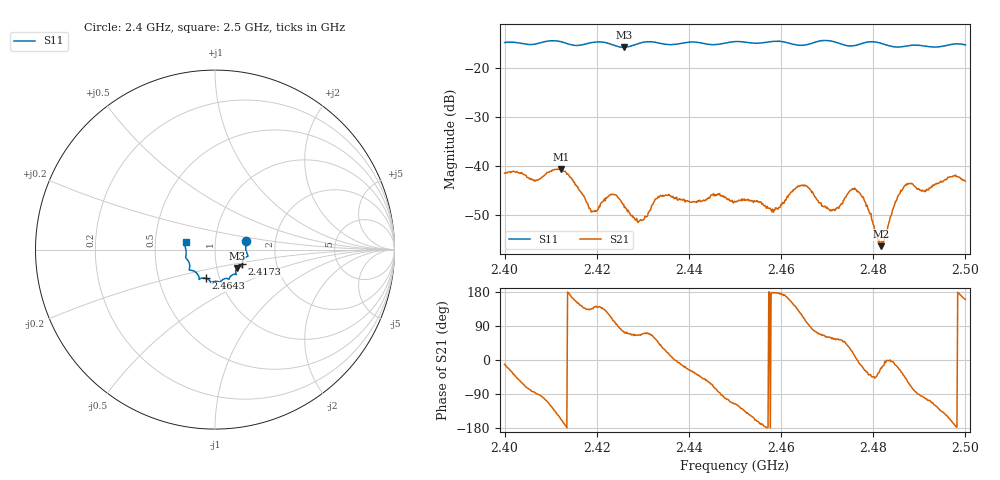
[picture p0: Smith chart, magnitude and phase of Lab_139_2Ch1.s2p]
# Hz S RI R 50
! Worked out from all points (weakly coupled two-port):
!   601 points, 2.4 GHz to 2.5 GHz, reference 50 ohm
!   highest |S21| = -40.61 dB at 2.4122 GHz (marker M1); lowest = -56.3 dB at 2.4817 GHz (marker M2)
!   lowest |S11| = -15.9 dB at 2.4258 GHz (marker M3), VSWR 1.38, Z = 62.3 - j13.3 ohm
!   |S11| at or under -10 dB: start of sweep to end of sweep
!   S12 and S22 are empty: the file has one direction only
!   S11 on the Smith chart (normalised r, x): 2.4 GHz: 1.41, +0.14; 2.4173 GHz: 1.34, -0.22; 2.4643 GHz: 0.86, -0.28; 2.5 GHz: 0.72, +0.06
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2.4e9  0.1726 0.0491  0.00826 -0.00163  0 0  0 0
2.406833e9  0.1735 -0.00822  0.000218 -0.00714  0 0  0 0
2.412167e9  0.179 -0.0387  -0.00849 -0.00385  0 0  0 0
2.416667e9  0.1522 -0.0743  -0.00426 0.00315  0 0  0 0
2.417333e9  0.1514 -0.0816  -0.00354 0.00325  0 0  0 0
2.419333e9  0.1529 -0.0956  -0.00262 0.00228  0 0  0 0
2.423167e9  0.1445 -0.0938  -0.00183 0.00477  0 0  0 0
2.425833e9  0.1221 -0.1036  0.00105 0.00392  0 0  0 0
2.429333e9  0.1163 -0.1336  0.00113 0.00253  0 0  0 0
2.433333e9  0.1127 -0.1374  0.00339 0.00352  0 0  0 0
2.45e9  0.029 -0.1813  -0.00185 -0.00394  0 0  0 0
2.458333e9  -0.0206 -0.1833  -0.00338 0.000197  0 0  0 0
2.464333e9  -0.0496 -0.1603  -0.00324 0.00541  0 0  0 0
2.466667e9  -0.0756 -0.1593  0.000726 0.0053  0 0  0 0
2.471167e9  -0.0876 -0.1623  0.00188 0.00306  0 0  0 0
2.4765e9  -0.1219 -0.1175  0.00546 2.51e-05  0 0  0 0
2.481667e9  -0.1418 -0.1047  0.00143 -0.000552  0 0  0 0
2.483333e9  -0.1407 -0.0896  0.00257 -7.09e-05  0 0  0 0
2.485167e9  -0.1453 -0.0701  0.00442 -0.00136  0 0  0 0
2.487333e9  -0.1569 -0.0537  0.00396 -0.00531  0 0  0 0
2.491e9  -0.1622 -0.0345  -0.000835 -0.00547  0 0  0 0
2.5e9  -0.1643 0.043  -0.00656 0.00239  0 0  0 0
